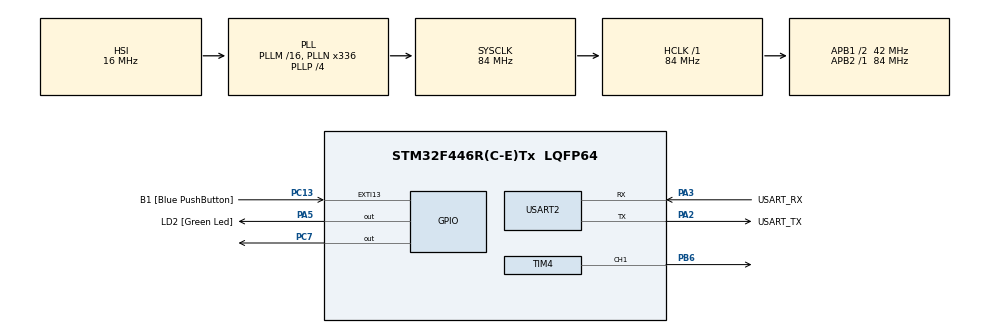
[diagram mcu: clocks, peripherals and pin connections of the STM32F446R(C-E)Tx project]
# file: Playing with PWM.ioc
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Mcu.Family=STM32F4
Mcu.Name=STM32F446R(C-E)Tx
Mcu.Package=LQFP64
NVIC.PriorityGroup=NVIC_PRIORITYGROUP_0
PA13.GPIO_Label=TMS
PA13.Mode=Serial_Wire
PA13.Signal=SYS_JTMS-SWDIO
PA14.GPIO_Label=TCK
PA14.Mode=Serial_Wire
PA14.Signal=SYS_JTCK-SWCLK
PA2.GPIO_Label=USART_TX
PA2.Mode=Asynchronous
PA2.Signal=USART2_TX
PA3.GPIO_Label=USART_RX
PA3.Mode=Asynchronous
PA3.Signal=USART2_RX
PA5.GPIO_Label=LD2 [Green Led]
PA5.Signal=GPIO_Output
PB3.GPIO_Label=SWO
PB3.Signal=SYS_JTDO-SWO
PB6.Signal=S_TIM4_CH1
PC13.GPIO_Label=B1 [Blue PushButton]
PC13.GPIO_ModeDefaultEXTI=GPIO_MODE_IT_FALLING
PC13.Signal=GPXTI13
PC14-OSC32_IN.Mode=LSE-External-Oscillator
PC14-OSC32_IN.Signal=RCC_OSC32_IN
PC15-OSC32_OUT.Mode=LSE-External-Oscillator
PC15-OSC32_OUT.Signal=RCC_OSC32_OUT
PC7.Signal=GPIO_Output
PH0-OSC_IN.Mode=HSE-External-Oscillator
PH0-OSC_IN.Signal=RCC_OSC_IN
PH1-OSC_OUT.Mode=HSE-External-Oscillator
PH1-OSC_OUT.Signal=RCC_OSC_OUT
ProjectManager.HeapSize=0x200
ProjectManager.StackSize=0x400
ProjectManager.TargetToolchain=STM32CubeIDE
RCC.48MHZClocksFreq_Value=84000000
RCC.AHBFreq_Value=84000000
RCC.APB1CLKDivider=RCC_HCLK_DIV2
RCC.APB1Freq_Value=42000000
RCC.APB1TimFreq_Value=84000000
RCC.APB2Freq_Value=84000000
RCC.APB2TimFreq_Value=84000000
RCC.CortexFreq_Value=84000000
RCC.FLatency-AdvancedSettings=FLASH_LATENCY_2
RCC.HCLKFreq_Value=84000000
RCC.HSE_VALUE=8000000
RCC.HSI_VALUE=16000000
RCC.PLLN=336
RCC.PLLP=RCC_PLLP_DIV4
RCC.SYSCLKFreq_VALUE=84000000
RCC.SYSCLKSource=RCC_SYSCLKSOURCE_PLLCLK
RCC.USBFreq_Value=168000000
RCC.VCOOutputFreq_Value=336000000
SH.S_TIM4_CH1.0=TIM4_CH1,PWM Generation1 CH1
TIM4.Channel-PWM\ Generation1\ CH1=TIM_CHANNEL_1
TIM4.Period=2000-1
TIM4.Prescaler=1080-1
USART2.VirtualMode=VM_ASYNC
board=NUCLEO-F446RE

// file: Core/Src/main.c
/* USER CODE BEGIN Header */
/**
 ******************************************************************************
 * @file           : main.c
 * @brief          : Main program body
 ******************************************************************************
 * @attention
 *
 * <h2><center>&copy; Copyright (c) 2020 STMicroelectronics.
 * All rights reserved.</center></h2>
 *
 * This software component is licensed by ST under BSD 3-Clause license,
 * the "License"; You may not use this file except in compliance with the
 * License. You may obtain a copy of the License at:
 *                        opensource.org/licenses/BSD-3-Clause
 *
 ******************************************************************************
 */
/* USER CODE END Header */

#include "main.h"

#include <stdio.h>
#include <stdbool.h>

/* USER CODE BEGIN PTD */

//analog discovery seems to like smaller widths b4 tripping
#define PULSEWIDTH 200

//Default values for PWM_OBJECT s
#define DEFAULTWIDTH 100
#define DEFAULTSTEP 10
#define DEFAULTDIR 1
/* USER CODE END PTD */

TIM_HandleTypeDef htim4;

UART_HandleTypeDef huart2;

/* USER CODE BEGIN PV */
struct PWM_OBJECT{
	uint16_t widthStep;
	uint16_t PWMValue;
	//dir = 1, forward i.e. positive step
	//dir = 0, reverse i.e. negative step
	bool dir;
};
/* USER CODE END PV */

void SystemClock_Config(void);
static void MX_GPIO_Init(void);
static void MX_USART2_UART_Init(void);
static void MX_TIM4_Init(void);

int main(void)
{
  /* USER CODE BEGIN 1 */
	struct PWM_OBJECT PWM1;

	PWM1.widthStep = DEFAULTSTEP;
	PWM1.PWMValue = DEFAULTWIDTH;
	PWM1.dir = DEFAULTDIR;
  /* USER CODE END 1 */

  /* MCU Configuration--------------------------------------------------------*/

  /* Reset of all peripherals, Initializes the Flash interface and the Systick. */
  HAL_Init();

  /* Configure the system clock */
  SystemClock_Config();

  /* Initialize all configured peripherals */
  MX_GPIO_Init();
  MX_USART2_UART_Init();
  MX_TIM4_Init();
  /* USER CODE BEGIN 2 */
  HAL_TIM_PWM_Start(&htim4, TIM_CHANNEL_1);
  doPWM(PWM1);
  HAL_Delay(10);
  /* USER CODE END 2 */

  /* Infinite loop */
  while (1)
  {
	  doPWM(PWM1);
  }
}

void SystemClock_Config(void)
{
  RCC_OscInitTypeDef RCC_OscInitStruct = {0};
  RCC_ClkInitTypeDef RCC_ClkInitStruct = {0};

  /** Configure the main internal regulator output voltage
  */
  __HAL_RCC_PWR_CLK_ENABLE();
  __HAL_PWR_VOLTAGESCALING_CONFIG(PWR_REGULATOR_VOLTAGE_SCALE3);
  /** Initializes the CPU, AHB and APB busses clocks
  */
  RCC_OscInitStruct.OscillatorType = RCC_OSCILLATORTYPE_HSI;
  RCC_OscInitStruct.HSIState = RCC_HSI_ON;
  RCC_OscInitStruct.HSICalibrationValue = RCC_HSICALIBRATION_DEFAULT;
  RCC_OscInitStruct.PLL.PLLState = RCC_PLL_ON;
  RCC_OscInitStruct.PLL.PLLSource = RCC_PLLSOURCE_HSI;
  RCC_OscInitStruct.PLL.PLLM = 16;
  RCC_OscInitStruct.PLL.PLLN = 336;
  RCC_OscInitStruct.PLL.PLLP = RCC_PLLP_DIV4;
  RCC_OscInitStruct.PLL.PLLQ = 2;
  RCC_OscInitStruct.PLL.PLLR = 2;
  if (HAL_RCC_OscConfig(&RCC_OscInitStruct) != HAL_OK)
  {
    Error_Handler();
  }
  /** Initializes the CPU, AHB and APB busses clocks
  */
  RCC_ClkInitStruct.ClockType = RCC_CLOCKTYPE_HCLK|RCC_CLOCKTYPE_SYSCLK
                              |RCC_CLOCKTYPE_PCLK1|RCC_CLOCKTYPE_PCLK2;
  RCC_ClkInitStruct.SYSCLKSource = RCC_SYSCLKSOURCE_PLLCLK;
  RCC_ClkInitStruct.AHBCLKDivider = RCC_SYSCLK_DIV1;
  RCC_ClkInitStruct.APB1CLKDivider = RCC_HCLK_DIV2;
  RCC_ClkInitStruct.APB2CLKDivider = RCC_HCLK_DIV1;

  if (HAL_RCC_ClockConfig(&RCC_ClkInitStruct, FLASH_LATENCY_2) != HAL_OK)
  {
    Error_Handler();
  }
}

static void MX_TIM4_Init(void)
{

  TIM_MasterConfigTypeDef sMasterConfig = {0};
  TIM_OC_InitTypeDef sConfigOC = {0};

  htim4.Instance = TIM4;
  htim4.Init.Prescaler = 1080-1;
  htim4.Init.CounterMode = TIM_COUNTERMODE_UP;
  htim4.Init.Period = PULSEWIDTH-1;
  htim4.Init.ClockDivision = TIM_CLOCKDIVISION_DIV1;
  htim4.Init.AutoReloadPreload = TIM_AUTORELOAD_PRELOAD_DISABLE;
  if (HAL_TIM_PWM_Init(&htim4) != HAL_OK)
  {
    Error_Handler();
  }
  sMasterConfig.MasterOutputTrigger = TIM_TRGO_RESET;
  sMasterConfig.MasterSlaveMode = TIM_MASTERSLAVEMODE_DISABLE;
  if (HAL_TIMEx_MasterConfigSynchronization(&htim4, &sMasterConfig) != HAL_OK)
  {
    Error_Handler();
  }
  sConfigOC.OCMode = TIM_OCMODE_PWM1;
  sConfigOC.Pulse = 0;
  sConfigOC.OCPolarity = TIM_OCPOLARITY_HIGH;
  sConfigOC.OCFastMode = TIM_OCFAST_DISABLE;
  if (HAL_TIM_PWM_ConfigChannel(&htim4, &sConfigOC, TIM_CHANNEL_1) != HAL_OK)
  {
    Error_Handler();
  }
  HAL_TIM_MspPostInit(&htim4);

}

static void MX_USART2_UART_Init(void)
{

  huart2.Instance = USART2;
  huart2.Init.BaudRate = 115200;
  huart2.Init.WordLength = UART_WORDLENGTH_8B;
  huart2.Init.StopBits = UART_STOPBITS_1;
  huart2.Init.Parity = UART_PARITY_NONE;
  huart2.Init.Mode = UART_MODE_TX_RX;
  huart2.Init.HwFlowCtl = UART_HWCONTROL_NONE;
  huart2.Init.OverSampling = UART_OVERSAMPLING_16;
  if (HAL_UART_Init(&huart2) != HAL_OK)
  {
    Error_Handler();
  }

}

static void MX_GPIO_Init(void)
{
  GPIO_InitTypeDef GPIO_InitStruct = {0};

  /* GPIO Ports Clock Enable */
  __HAL_RCC_GPIOC_CLK_ENABLE();
  __HAL_RCC_GPIOH_CLK_ENABLE();
  __HAL_RCC_GPIOA_CLK_ENABLE();
  __HAL_RCC_GPIOB_CLK_ENABLE();

  /*Configure GPIO pin Output Level */
  HAL_GPIO_WritePin(LD2_GPIO_Port, LD2_Pin, GPIO_PIN_RESET);

  /*Configure GPIO pin Output Level */
  HAL_GPIO_WritePin(GPIOC, GPIO_PIN_7, GPIO_PIN_RESET);

  /*Configure GPIO pin : B1_Pin */
  GPIO_InitStruct.Pin = B1_Pin;
  GPIO_InitStruct.Mode = GPIO_MODE_IT_FALLING;
  GPIO_InitStruct.Pull = GPIO_NOPULL;
  HAL_GPIO_Init(B1_GPIO_Port, &GPIO_InitStruct);

  /*Configure GPIO pin : LD2_Pin */
  GPIO_InitStruct.Pin = LD2_Pin;
  GPIO_InitStruct.Mode = GPIO_MODE_OUTPUT_PP;
  GPIO_InitStruct.Pull = GPIO_NOPULL;
  GPIO_InitStruct.Speed = GPIO_SPEED_FREQ_LOW;
  HAL_GPIO_Init(LD2_GPIO_Port, &GPIO_InitStruct);

  /*Configure GPIO pin : PC7 */
  GPIO_InitStruct.Pin = GPIO_PIN_7;
  GPIO_InitStruct.Mode = GPIO_MODE_OUTPUT_PP;
  GPIO_InitStruct.Pull = GPIO_NOPULL;
  GPIO_InitStruct.Speed = GPIO_SPEED_FREQ_LOW;
  HAL_GPIO_Init(GPIOC, &GPIO_InitStruct);

}

/* USER CODE BEGIN 4 */
void doPWM(struct PWM_OBJECT *objectIn)
{
	//Add value if dir == 1
	if(objectIn->dir) objectIn->PWMValue += objectIn->widthStep;
	//Add value if dir != 1, i.e. 0
	else objectIn->PWMValue -=objectIn->widthStep;

	//Change dir if width is about to reach ceil
	if(objectIn->PWMValue>=PULSEWIDTH-objectIn->widthStep) objectIn->dir = 0;

	//Change dir if width is about to reach floor
	if(objectIn->PWMValue<=0+objectIn->widthStep) objectIn->dir = 1;

	TIM_OC_InitTypeDef sConfigOC;

	sConfigOC.OCMode = TIM_OCMODE_PWM1;
	sConfigOC.Pulse = objectIn->PWMValue;
	sConfigOC.OCPolarity = TIM_OCPOLARITY_HIGH;
	sConfigOC.OCFastMode = TIM_OCFAST_DISABLE;
	HAL_TIM_PWM_ConfigChannel(&htim4, &sConfigOC, TIM_CHANNEL_1);
	HAL_TIM_PWM_Start(&htim4, TIM_CHANNEL_1);
}
/* USER CODE END 4 */

void Error_Handler(void)
{
}

/************************ (C) COPYRIGHT STMicroelectronics *****END OF FILE****/
